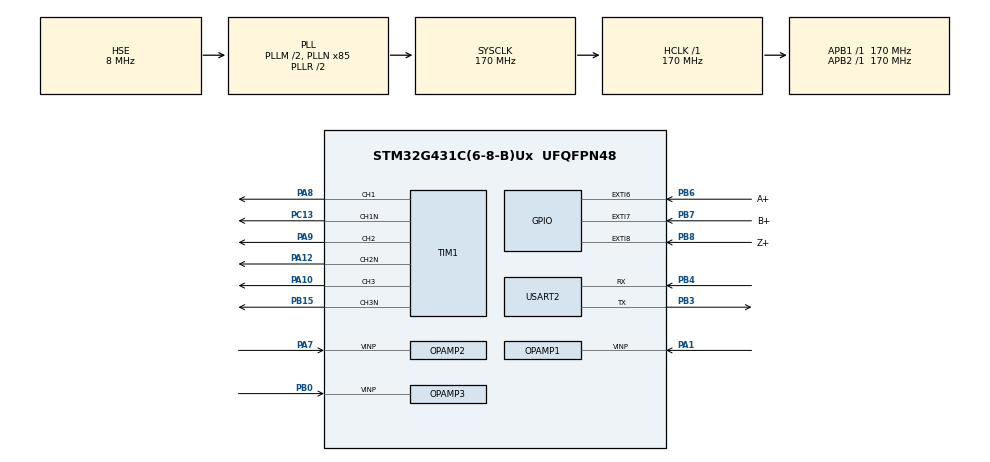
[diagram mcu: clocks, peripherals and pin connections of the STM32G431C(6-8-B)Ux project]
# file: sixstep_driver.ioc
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ADC1.Channel-3\#ChannelRegularConversion=ADC_CHANNEL_VOPAMP1
ADC1.NbrOfConversionFlag=1
ADC1.OffsetNumber-3\#ChannelRegularConversion=ADC_OFFSET_NONE
ADC1.Rank-3\#ChannelRegularConversion=1
ADC1.SamplingTime-3\#ChannelRegularConversion=ADC_SAMPLETIME_2CYCLES_5
ADC1.master=1
ADC2.Channel-1\#ChannelRegularConversion=ADC_CHANNEL_VOPAMP2
ADC2.NbrOfConversionFlag=1
ADC2.OffsetNumber-1\#ChannelRegularConversion=ADC_OFFSET_NONE
ADC2.Rank-1\#ChannelRegularConversion=1
ADC2.SamplingTime-1\#ChannelRegularConversion=ADC_SAMPLETIME_2CYCLES_5
Mcu.Family=STM32G4
Mcu.Name=STM32G431C(6-8-B)Ux
Mcu.Package=UFQFPN48
NVIC.PriorityGroup=NVIC_PRIORITYGROUP_4
OPAMP1.PgaGain=OPAMP_PGA_GAIN_16_OR_MINUS_15
OPAMP1.PowerMode=OPAMP_POWERMODE_NORMALSPEED
OPAMP2.PgaGain=OPAMP_PGA_GAIN_16_OR_MINUS_15
OPAMP3.PgaGain=OPAMP_PGA_GAIN_16_OR_MINUS_15
PA1.Mode=PGA_Internally_Connected
PA1.Signal=OPAMP1_VINP
PA10.Signal=S_TIM1_CH3
PA12.Mode=PWM Generation2 CH2 CH2N
PA12.Signal=TIM1_CH2N
PA7.Mode=PGA_Internally_Connected
PA7.Signal=OPAMP2_VINP
PA8.Signal=S_TIM1_CH1
PA9.Signal=S_TIM1_CH2
PB0.Mode=PGA_Internally_Connected
PB0.Signal=OPAMP3_VINP
PB15.Mode=PWM Generation3 CH3 CH3N
PB15.Signal=TIM1_CH3N
PB3.Mode=Asynchronous
PB3.Signal=USART2_TX
PB4.Mode=Asynchronous
PB4.Signal=USART2_RX
PB6.GPIO_Label=A+
PB6.GPIO_ModeDefaultEXTI=GPIO_MODE_IT_RISING_FALLING
PB6.Signal=GPXTI6
PB7.GPIO_Label=B+
PB7.GPIO_ModeDefaultEXTI=GPIO_MODE_IT_RISING_FALLING
PB7.Signal=GPXTI7
PB8-BOOT0.GPIO_Label=Z+
PB8-BOOT0.GPIO_ModeDefaultEXTI=GPIO_MODE_IT_RISING_FALLING
PB8-BOOT0.Signal=GPXTI8
PC13.Mode=PWM Generation1 CH1 CH1N
PC13.Signal=TIM1_CH1N
PF0-OSC_IN.Mode=HSE-External-Oscillator
PF0-OSC_IN.Signal=RCC_OSC_IN
PF1-OSC_OUT.Mode=HSE-External-Oscillator
PF1-OSC_OUT.Signal=RCC_OSC_OUT
ProjectManager.HeapSize=0x200
ProjectManager.StackSize=0x400
ProjectManager.TargetToolchain=STM32CubeIDE
RCC.ADC12Freq_Value=170000000
RCC.AHBFreq_Value=170000000
RCC.APB1Freq_Value=170000000
RCC.APB1TimFreq_Value=170000000
RCC.APB2Freq_Value=170000000
RCC.APB2TimFreq_Value=170000000
RCC.CortexFreq_Value=170000000
RCC.EXTERNAL_CLOCK_VALUE=12288000
RCC.HCLKFreq_Value=170000000
RCC.HSE_VALUE=8000000
RCC.HSI48_VALUE=48000000
RCC.HSI_VALUE=16000000
RCC.LSE_VALUE=32768
RCC.PLLM=RCC_PLLM_DIV2
RCC.PLLN=85
RCC.PLLSourceVirtual=RCC_PLLSOURCE_HSE
RCC.SYSCLKFreq_VALUE=170000000
RCC.SYSCLKSource=RCC_SYSCLKSOURCE_PLLCLK
RCC.USBFreq_Value=170000000
RCC.VCOOutputFreq_Value=340000000
SH.S_TIM1_CH1.0=TIM1_CH1,PWM Generation1 CH1 CH1N
SH.S_TIM1_CH2.0=TIM1_CH2,PWM Generation2 CH2 CH2N
SH.S_TIM1_CH3.0=TIM1_CH3,PWM Generation3 CH3 CH3N
TIM1.Channel-PWM\ Generation1\ CH1\ CH1N=TIM_CHANNEL_1
TIM1.Channel-PWM\ Generation2\ CH2\ CH2N=TIM_CHANNEL_2
TIM1.Channel-PWM\ Generation3\ CH3\ CH3N=TIM_CHANNEL_3
TIM1.TIM_MasterOutputTrigger=TIM_TRGO_UPDATE
TIM2.Channel-Output\ Compare1\ No\ Output=TIM_CHANNEL_1
TIM2.Prescaler=170
USART2.VirtualMode-Asynchronous=VM_ASYNC
VP_ADC1_OPAMP_INTERNAL1.Mode=IN-OPAMP1
VP_ADC2_OPAMP_INTERNAL2.Mode=IN-OPAMP2
VP_ADC2_OPAMP_INTERNAL3.Mode=IN-OPAMP3
VP_SYS_VS_DBSignals.Mode=DisableDeadBatterySignals
VP_TIM2_VS_no_output1.Mode=Output Compare1 No Output
board=custom

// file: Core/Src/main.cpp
/* USER CODE BEGIN Header */
/**
  ******************************************************************************
  * @file           : main.cpp
  * @brief          : Main program body
  ******************************************************************************
  * @attention
  *
  * Copyright (c) 2025 STMicroelectronics.
  * All rights reserved.
  *
  * This software is licensed under terms that can be found in the LICENSE file
  * in the root directory of this software component.
  * If no LICENSE file comes with this software, it is provided AS-IS.
  *
  ******************************************************************************
  */
/* USER CODE END Header */
#include "../Inc/main.h"

/* USER CODE BEGIN Includes */
#include "../../libecu/include/libecu.hpp"
#include "../../libecu/include/bldc_controller.hpp"
#include "../../libecu/hal/stm32g4/stm32_pwm.hpp"
#include "../../libecu/hal/stm32g4/stm32_hall_sensor.hpp"
#include "../../libecu/hal/stm32g4/stm32_adc.hpp"
#include "../../libecu/include/algorithms/commutation_controller.hpp"
#include "../../libecu/include/algorithms/pid_controller.hpp"
#include "../../libecu/include/algorithms/current_controller.hpp"
#include "../../libecu/include/safety/safety_monitor.hpp"
#include <stdint.h>
#include <stddef.h>
#include <string.h>
#include <stdio.h>
/* USER CODE END Includes */

/* USER CODE BEGIN PD */
#define PERIODIC_TIMER_FREQ 1000
/* USER CODE END PD */

ADC_HandleTypeDef hadc1;
ADC_HandleTypeDef hadc2;

OPAMP_HandleTypeDef hopamp1;
OPAMP_HandleTypeDef hopamp2;
OPAMP_HandleTypeDef hopamp3;

TIM_HandleTypeDef htim1;
TIM_HandleTypeDef htim2;

UART_HandleTypeDef huart2;

DMA_HandleTypeDef hdma_adc1;

/* USER CODE BEGIN PV */
static libecu::Stm32Pwm pwm_driver(&htim1);
static libecu::HallGpioConfig hall_config{A__GPIO_Port, A__Pin, B__Pin, Z__Pin};
static libecu::Stm32HallSensor hall_sensor(hall_config);
static libecu::Stm32Adc adc_driver;
static libecu::CommutationController* commutation_controller = nullptr;
static libecu::SafetyMonitor* safety_monitor = nullptr;
static libecu::CurrentController* current_controller = nullptr;
static libecu::BldcController* motor_controller = nullptr;
static volatile bool control_tick = false;
//static uint32_t control_counter = 0;
/* USER CODE END PV */

void SystemClock_Config(void);
static void MX_GPIO_Init(void);
static void MX_DMA_Init(void);
static void MX_TIM1_Init(void);
static void MX_USART2_UART_Init(void);
static void MX_OPAMP1_Init(void);
static void MX_OPAMP2_Init(void);
static void MX_OPAMP3_Init(void);
static void MX_TIM2_Init(void);
static void MX_ADC1_Init(void);
static void MX_ADC2_Init(void);

/* USER CODE BEGIN 0 */
extern "C" {
int __io_putchar(int ch)
{
	HAL_UART_Transmit(&huart2, (uint8_t*)&ch, 1, 180);
	return (int)ch;
}

int __io_getchar(void)
{
	uint8_t byte;

	if (HAL_UART_Receive(&huart2, &byte, 1, 0) == HAL_OK)
		return (int)byte;
	else
		return (int)EOF;
}
}

uint32_t time_us()
{
	return htim2.Instance->CNT;
}

// Use CMSIS intrinsics for interrupt control
// These functions are used by libecu library for critical sections
extern "C" void disable_interrupts() {
    __asm volatile ("cpsid i" : : : "memory");
}

extern "C" void enable_interrupts() {
    __asm volatile ("cpsie i" : : : "memory");
}

/**
 * @brief Read potentiometer and convert to target speed
 * @param max_speed_rpm Maximum speed corresponding to 3.3V
 * @return Target speed in RPM (0 to max_speed_rpm)
 */
float readPotentiometerSpeed(float max_speed_rpm)
{
    // Start ADC regular conversion
    HAL_ADC_Start(&hadc1);

    // Wait for conversion complete (should be very fast)
    if (HAL_ADC_PollForConversion(&hadc1, 10) == HAL_OK) {
        uint32_t adc_value = HAL_ADC_GetValue(&hadc1);

        // Convert ADC value (0-4095) to speed (0-max_speed_rpm)
        // Linear mapping: speed = (adc_value / 4095.0) * max_speed_rpm
        float speed_rpm = (static_cast<float>(adc_value) / 4095.0f) * max_speed_rpm;

        return speed_rpm;
    }

    // If conversion failed, return 0
    return 0.0f;
}

/**
 * @brief C-linkage wrapper for Hall sensor interrupt handler
 * This function is called from C code (stm32g4xx_it.c) and delegates to the C++ motor controller
 */
extern "C" void motor_controller_hall_interrupt_handler(void)
{
    if (motor_controller != nullptr) {
        motor_controller->hallSensorInterruptHandler();
    }
}

/**
 * @brief C-linkage wrapper for PWM interrupt handler (current control loop)
 * This function is called from C code (stm32g4xx_it.c) at 20kHz for current control
 */
extern "C" void motor_controller_pwm_interrupt_handler(void)
{
    if (motor_controller != nullptr) {
        motor_controller->pwmInterruptHandler();
    }
}

/* USER CODE END 0 */

int main(void)
{

  /* MCU Configuration--------------------------------------------------------*/

  /* Reset of all peripherals, Initializes the Flash interface and the Systick. */
  HAL_Init();

  /* Configure the system clock */
  SystemClock_Config();

  /* Initialize all configured peripherals */
  MX_GPIO_Init();
  MX_DMA_Init();
  MX_TIM1_Init();
  MX_TIM2_Init();
  MX_USART2_UART_Init();
  MX_OPAMP1_Init();
  MX_OPAMP2_Init();
  MX_OPAMP3_Init();
  MX_ADC1_Init();
  MX_ADC2_Init();

  /* Start OPAMPs for current sensing */
  HAL_OPAMP_Start(&hopamp1);
  HAL_OPAMP_Start(&hopamp2);
  HAL_OPAMP_Start(&hopamp3);

    /* USER CODE BEGIN 2 */
    // Initialize motor control components
    if (!pwm_driver.initialize(20000, 100)) {  // 20kHz PWM, 100ns dead-time
        Error_Handler();
    }

    if (!hall_sensor.initialize()) {
        Error_Handler();
    }

    // Calibrate ADCs (must be done before starting conversions)
    if (HAL_ADCEx_Calibration_Start(&hadc1, ADC_SINGLE_ENDED) != HAL_OK) {
        Error_Handler();
    }
    if (HAL_ADCEx_Calibration_Start(&hadc2, ADC_SINGLE_ENDED) != HAL_OK) {
        Error_Handler();
    }

    // Initialize ADC for current sensing
    libecu::CurrentSensorCalibration adc_calibration;
    adc_calibration.shunt_resistance_ohms = 0.003f;  // 3 milliohm shunts
    adc_calibration.opamp_gain = 16.0f;              // PGA gain
    adc_calibration.adc_reference_voltage = 3.3f;    // 3.3V ADC reference
    adc_calibration.adc_resolution_bits = 12;        // 12-bit ADC

    if (!adc_driver.initialize(adc_calibration)) {
        Error_Handler();
    }

    // Start TIM1 to generate TRGO2 triggers for ADC (must be before ADC start)
    if (HAL_TIM_Base_Start(&htim1) != HAL_OK) {
        Error_Handler();
    }

    // Start ADC injected conversions (triggered by TIM1_TRGO2)
    // In dual-mode simultaneous: START SLAVE FIRST, THEN MASTER
    // ADC2 (slave): Phase V (VOPAMP2) - must be started first
    if (HAL_ADCEx_InjectedStart(&hadc2) != HAL_OK) {
        Error_Handler();
    }

    // ADC1 (master): Phase U (VOPAMP1) + Phase W (IN12/OPAMP3)
    // Starting master will trigger both ADCs simultaneously
    if (HAL_ADCEx_InjectedStart(&hadc1) != HAL_OK) {
        Error_Handler();
    }

    // Wait for stable readings
    HAL_Delay(100);

    // Calibrate zero-current offset (motor must be stationary)
    // Must be AFTER ADC is started and TIM1 is generating triggers
    if (!adc_driver.calibrateZeroOffset()) {
        Error_Handler();
    }
    printf("zero offsets: %f %f %f\n",  adc_driver.getCalibration().offset_voltage_u,
                                        adc_driver.getCalibration().offset_voltage_v,
                                        adc_driver.getCalibration().offset_voltage_w);

    // Create component instances
    // Using 8 pole pairs for commutation
    commutation_controller = new libecu::CommutationController(pwm_driver, hall_sensor, 8);

    // Speed PID controller parameters for VOLTAGE_MODE (outputs duty cycle 0.0-1.0)
    libecu::PidParameters pid_params_voltage;
    pid_params_voltage.kp = 0.01f;
    pid_params_voltage.ki = 0.05f;
    pid_params_voltage.kd = 0.0f;
    pid_params_voltage.max_output = 1.0f;    // Max duty cycle
    pid_params_voltage.min_output = 0.0f;
    pid_params_voltage.max_integral = 20.0f;

    // Speed PID controller parameters for CURRENT_MODE (outputs current 0.0-5.4A)
    libecu::PidParameters pid_params_current;
    pid_params_current.kp = 0.01f;     // Higher gain for current control
    pid_params_current.ki = 0.05f;     // Different integral for current
    pid_params_current.kd = 0.0f;
    pid_params_current.max_output = 5.4f;    // Max current (A)
    pid_params_current.min_output = 0.0f;
    pid_params_current.max_integral = 5.0f;  // Smaller integral limit for current

    // PID controller will be created internally by BldcController

    // Create current controller for current control mode
    libecu::CurrentControllerParameters current_params;
    current_params.kp = 1.0f;                  // Current loop proportional gain
    current_params.ki = 0.1f;                 // Current loop integral gain
    current_params.max_output = 1.0f;          // Max delta (+1.0 → max current increasing)
    current_params.min_output = -1.0f;         // Min delta (-1.0 → max current decreasing)
    current_params.max_integral = 0.0f;       // Anti-windup limit
    current_params.sample_time_s = 1.0f / 20000.0f;  // 20kHz (50μs)
    current_params.max_current = 5.4f;         // 5.4A maximum current
    current_controller = new libecu::CurrentController(current_params);

    libecu::SafetyLimits safety_limits;
    safety_limits.max_current =  6.0f;      // 6A max current
    safety_limits.max_temperature = 85.0f;  // 85°C max temp
    safety_monitor = new libecu::SafetyMonitor(safety_limits);

    libecu::MotorControlParams motor_params;
    motor_params.max_duty_cycle = 0.85f;
    motor_params.max_current = 6.0f;          // 6A max current (matches safety limit)
    motor_params.max_speed_rpm = 150.0f;
    motor_params.acceleration_rate = 1000.0f; // 1000 RPM/s accel
    motor_params.control_frequency = PERIODIC_TIMER_FREQ;
    motor_params.pid_voltage_mode = pid_params_voltage;
    motor_params.pid_current_mode = pid_params_current;

    motor_controller = new libecu::BldcController(
        pwm_driver, hall_sensor, *commutation_controller,
        *safety_monitor, motor_params,
        &adc_driver, current_controller);

    if (!motor_controller->initialize()) {
        Error_Handler();
    }

    /* Configure interrupt priorities for real-time control
     * Lower preempt priority number = higher priority (can preempt higher numbers)
     * Priority 0: TIM1 (20kHz current loop) - highest priority, time-critical
     * Priority 2: SysTick (5kHz control loop) - medium priority
     * Priority 5: Hall sensors (EXTI9_5) - lowest priority, already configured in MX_GPIO_Init
     */
    HAL_NVIC_SetPriority(TIM1_UP_TIM16_IRQn, 0, 0);
    HAL_NVIC_EnableIRQ(TIM1_UP_TIM16_IRQn);

    // Enable TIM1 update interrupt for 20kHz current control loop
    // (TIM1 base is already started earlier for ADC calibration)
    HAL_TIM_Base_Start_IT(&htim1);

    // Set control mode (mechanical) and electric mode (electrical)
    motor_controller->setControlMode(libecu::ControlMode::CLOSED_LOOP_VELOCITY);
    motor_controller->setElectricMode(libecu::ElectricMode::CURRENT_MODE);

    // This setting is for CLOSED_LOOP_TORQUE and VOLTAGE_MODE mode only
    motor_controller->setDutyCycle(0.3f);

    // This setting is for CLOSED_LOOP_TORQUE and CURRENT_MODE mode only
    motor_controller->setCurrent(0.5f);

    motor_controller->start();

    // Setup 5kHz control loop with SysTick
    HAL_SYSTICK_Config(SystemCoreClock / PERIODIC_TIMER_FREQ);
    // SysTick priority must be lower than TIM1 (higher number = lower priority)
    HAL_NVIC_SetPriority(SysTick_IRQn, 2, 0);

    // Direction is always CLOCKWISE (potentiometer controls speed only)
    motor_controller->setDirection(libecu::RotationDirection::CLOCKWISE);
    // Target speed will be updated from potentiometer in main loop

    /* USER CODE END 2 */

    /* Infinite loop */
    /* USER CODE BEGIN WHILE */

    printf("ECU started\n");
    while (1)
    {

      /* USER CODE END WHILE */

      /* USER CODE BEGIN 3 */

        // motor control loop
        if (control_tick) {
            control_tick = false;

            if (motor_controller) {
                // Update motor controller
                motor_controller->update();
                printf("%.2f %.2f %.2f\n",  motor_controller->getStatus().target_speed_rpm,
                                            motor_controller->getStatus().current_speed_rpm,
                                            motor_controller->getStatus().duty_cycle);
            }
            /*if (safety_monitor) {
                // Basic safety check every 10 control cycles
                if ((control_counter % 10) == 0) {
                    // Collect safety data
                    libecu::SafetyData safety_data = {0};

                    // Read actual phase currents from ADC
                    adc_driver.readAllCurrents(
                        safety_data.phase_u_current,
                        safety_data.phase_v_current,
                        safety_data.phase_w_current
                    );

                    safety_data.temperature = 25.0f;     // TODO: Read from temp sensor
                    safety_data.bus_voltage = 24.0f;     // TODO: Read from voltage sensor
                    safety_data.emergency_stop = false;  // TODO: Read from E-stop button
                    safety_data.hall_fault = false;      // TODO: Check hall sensors
                    motor_controller->monitor(safety_data);
                    libecu::MotorStatus status = motor_controller->getStatus();
                    if (status.active_fault != libecu::SafetyFault::NONE) {
                        motor_controller->emergencyStop();
                        // Could add fault handling here
                    }
                }

                control_counter++;
            }*/
      }

#ifdef DEBUG_PWM_ISR
      // Process debug buffer output (one sample per loop iteration)
      if (motor_controller) {
          motor_controller->processDebugOutput();
      }
#endif

      // Read potentiometer and update target speed (runs in main loop)
      if (motor_controller) {
          float target_speed = readPotentiometerSpeed(motor_params.max_speed_rpm);
          motor_controller->setTargetSpeed(target_speed);
      }
    }
    /* USER CODE END 3 */
}

void SystemClock_Config(void)
{
  RCC_OscInitTypeDef RCC_OscInitStruct = {0};
  RCC_ClkInitTypeDef RCC_ClkInitStruct = {0};

  /** Configure the main internal regulator output voltage
  */
  HAL_PWREx_ControlVoltageScaling(PWR_REGULATOR_VOLTAGE_SCALE1_BOOST);

  /** Initializes the RCC Oscillators according to the specified parameters
  * in the RCC_OscInitTypeDef structure.
  */
  RCC_OscInitStruct.OscillatorType = RCC_OSCILLATORTYPE_HSE;
  RCC_OscInitStruct.HSEState = RCC_HSE_ON;
  RCC_OscInitStruct.PLL.PLLState = RCC_PLL_ON;
  RCC_OscInitStruct.PLL.PLLSource = RCC_PLLSOURCE_HSE;
  RCC_OscInitStruct.PLL.PLLM = RCC_PLLM_DIV2;
  RCC_OscInitStruct.PLL.PLLN = 85;
  RCC_OscInitStruct.PLL.PLLP = RCC_PLLP_DIV2;
  RCC_OscInitStruct.PLL.PLLQ = RCC_PLLQ_DIV2;
  RCC_OscInitStruct.PLL.PLLR = RCC_PLLR_DIV2;
  if (HAL_RCC_OscConfig(&RCC_OscInitStruct) != HAL_OK)
  {
    Error_Handler();
  }

  /** Initializes the CPU, AHB and APB buses clocks
  */
  RCC_ClkInitStruct.ClockType = RCC_CLOCKTYPE_HCLK|RCC_CLOCKTYPE_SYSCLK
                              |RCC_CLOCKTYPE_PCLK1|RCC_CLOCKTYPE_PCLK2;
  RCC_ClkInitStruct.SYSCLKSource = RCC_SYSCLKSOURCE_PLLCLK;
  RCC_ClkInitStruct.AHBCLKDivider = RCC_SYSCLK_DIV1;
  RCC_ClkInitStruct.APB1CLKDivider = RCC_HCLK_DIV1;
  RCC_ClkInitStruct.APB2CLKDivider = RCC_HCLK_DIV1;

  if (HAL_RCC_ClockConfig(&RCC_ClkInitStruct, FLASH_LATENCY_4) != HAL_OK)
  {
    Error_Handler();
  }
}

static void MX_ADC1_Init(void)
{

  ADC_MultiModeTypeDef multimode = {0};
  ADC_ChannelConfTypeDef sConfig = {0};

  /** Common config
  */
  hadc1.Instance = ADC1;
  hadc1.Init.ClockPrescaler = ADC_CLOCK_SYNC_PCLK_DIV4;
  hadc1.Init.Resolution = ADC_RESOLUTION_12B;
  hadc1.Init.DataAlign = ADC_DATAALIGN_RIGHT;
  hadc1.Init.GainCompensation = 0;
  hadc1.Init.ScanConvMode = ADC_SCAN_DISABLE;
  hadc1.Init.EOCSelection = ADC_EOC_SEQ_CONV;  // EOC after sequence
  hadc1.Init.LowPowerAutoWait = DISABLE;
  hadc1.Init.ContinuousConvMode = DISABLE;
  hadc1.Init.NbrOfConversion = 1;
  hadc1.Init.DiscontinuousConvMode = DISABLE;
  hadc1.Init.ExternalTrigConv = ADC_SOFTWARE_START;
  hadc1.Init.ExternalTrigConvEdge = ADC_EXTERNALTRIGCONVEDGE_NONE;
  hadc1.Init.DMAContinuousRequests = DISABLE;
  hadc1.Init.Overrun = ADC_OVR_DATA_PRESERVED;
  hadc1.Init.OversamplingMode = DISABLE;
  if (HAL_ADC_Init(&hadc1) != HAL_OK)
  {
    Error_Handler();
  }

  /** Configure the ADC multi-mode for simultaneous injected conversions
  */
  multimode.Mode = ADC_DUALMODE_INJECSIMULT;  // Simultaneous injected mode
  multimode.DMAAccessMode = ADC_DMAACCESSMODE_DISABLED;
  multimode.TwoSamplingDelay = ADC_TWOSAMPLINGDELAY_1CYCLE;
  if (HAL_ADCEx_MultiModeConfigChannel(&hadc1, &multimode) != HAL_OK)
  {
    Error_Handler();
  }

  /** Configure Regular Channel for Potentiometer (PB12 = ADC1_IN11)
  */
  sConfig.Channel = ADC_CHANNEL_11;  // PB12 potentiometer input
  sConfig.Rank = ADC_REGULAR_RANK_1;
  sConfig.SamplingTime = ADC_SAMPLETIME_47CYCLES_5;  // Slower sampling for stable reading
  sConfig.SingleDiff = ADC_SINGLE_ENDED;
  sConfig.OffsetNumber = ADC_OFFSET_NONE;
  sConfig.Offset = 0;
  if (HAL_ADC_ConfigChannel(&hadc1, &sConfig) != HAL_OK)
  {
    Error_Handler();
  }

  /** Configure Injected Channel 1: Phase U current (OPAMP1)
  */
  ADC_InjectionConfTypeDef sConfigInjected = {0};
  sConfigInjected.InjectedChannel = ADC_CHANNEL_VOPAMP1;
  sConfigInjected.InjectedRank = ADC_INJECTED_RANK_1;
  sConfigInjected.InjectedSamplingTime = ADC_SAMPLETIME_47CYCLES_5;  // Fast sampling for 20kHz
  sConfigInjected.InjectedSingleDiff = ADC_SINGLE_ENDED;
  sConfigInjected.InjectedOffsetNumber = ADC_OFFSET_NONE;
  sConfigInjected.InjectedOffset = 0;
  sConfigInjected.InjectedNbrOfConversion = 1;  // 1 injected channel on ADC1 (OPAMP1 only)
  sConfigInjected.InjectedDiscontinuousConvMode = DISABLE;
  sConfigInjected.AutoInjectedConv = DISABLE;
  sConfigInjected.QueueInjectedContext = DISABLE;
  sConfigInjected.ExternalTrigInjecConv = ADC_EXTERNALTRIGINJEC_T1_TRGO2;  // TIM1 TRGO2 trigger
  sConfigInjected.ExternalTrigInjecConvEdge = ADC_EXTERNALTRIGINJECCONV_EDGE_RISING;
  sConfigInjected.InjecOversamplingMode = DISABLE;

  if (HAL_ADCEx_InjectedConfigChannel(&hadc1, &sConfigInjected) != HAL_OK)
  {
    Error_Handler();
  }

}

static void MX_ADC2_Init(void)
{

  /** Common config
  */
  hadc2.Instance = ADC2;
  hadc2.Init.ClockPrescaler = ADC_CLOCK_SYNC_PCLK_DIV4;
  hadc2.Init.Resolution = ADC_RESOLUTION_12B;
  hadc2.Init.DataAlign = ADC_DATAALIGN_RIGHT;
  hadc2.Init.GainCompensation = 0;
  hadc2.Init.ScanConvMode = ADC_SCAN_ENABLE;  // Enable scan for 2 injected channels (OPAMP2 + OPAMP3)
  hadc2.Init.EOCSelection = ADC_EOC_SEQ_CONV;
  hadc2.Init.LowPowerAutoWait = DISABLE;
  hadc2.Init.ContinuousConvMode = DISABLE;
  hadc2.Init.NbrOfConversion = 1;
  hadc2.Init.DiscontinuousConvMode = DISABLE;
  hadc2.Init.ExternalTrigConv = ADC_SOFTWARE_START;
  hadc2.Init.ExternalTrigConvEdge = ADC_EXTERNALTRIGCONVEDGE_NONE;
  hadc2.Init.DMAContinuousRequests = DISABLE;
  hadc2.Init.Overrun = ADC_OVR_DATA_PRESERVED;
  hadc2.Init.OversamplingMode = DISABLE;
  if (HAL_ADC_Init(&hadc2) != HAL_OK)
  {
    Error_Handler();
  }

  /** Configure Injected Channel 1: Phase V current (OPAMP2)
  */
  ADC_InjectionConfTypeDef sConfigInjected = {0};
  sConfigInjected.InjectedChannel = ADC_CHANNEL_VOPAMP2;  // OPAMP2_OUT internally connected
  sConfigInjected.InjectedRank = ADC_INJECTED_RANK_1;
  sConfigInjected.InjectedSamplingTime = ADC_SAMPLETIME_47CYCLES_5;  // Match ADC1 timing
  sConfigInjected.InjectedSingleDiff = ADC_SINGLE_ENDED;
  sConfigInjected.InjectedOffsetNumber = ADC_OFFSET_NONE;
  sConfigInjected.InjectedOffset = 0;
  sConfigInjected.InjectedNbrOfConversion = 2;  // 2 injected channels on ADC2 (OPAMP2 + OPAMP3)
  sConfigInjected.InjectedDiscontinuousConvMode = DISABLE;
  sConfigInjected.AutoInjectedConv = DISABLE;
  sConfigInjected.QueueInjectedContext = DISABLE;
  sConfigInjected.ExternalTrigInjecConv = ADC_EXTERNALTRIGINJEC_T1_TRGO2;  // TIM1 TRGO2 trigger
  sConfigInjected.ExternalTrigInjecConvEdge = ADC_EXTERNALTRIGINJECCONV_EDGE_RISING;
  sConfigInjected.InjecOversamplingMode = DISABLE;

  if (HAL_ADCEx_InjectedConfigChannel(&hadc2, &sConfigInjected) != HAL_OK)
  {
    Error_Handler();
  }

  /** Configure Injected Channel 2: Phase W current (OPAMP3)
  */
  sConfigInjected.InjectedChannel = ADC_CHANNEL_VOPAMP3_ADC2;  // OPAMP3_OUT internally connected
  sConfigInjected.InjectedRank = ADC_INJECTED_RANK_2;
  if (HAL_ADCEx_InjectedConfigChannel(&hadc2, &sConfigInjected) != HAL_OK)
  {
    Error_Handler();
  }

}

static void MX_OPAMP1_Init(void)
{

  hopamp1.Instance = OPAMP1;
  hopamp1.Init.PowerMode = OPAMP_POWERMODE_NORMALSPEED;
  hopamp1.Init.Mode = OPAMP_PGA_MODE;
  hopamp1.Init.NonInvertingInput = OPAMP_NONINVERTINGINPUT_IO0;
  hopamp1.Init.InvertingInput = OPAMP_INVERTINGINPUT_IO0;  // Not used in PGA mode
  hopamp1.Init.PgaGain = OPAMP_PGA_GAIN_16_OR_MINUS_15;
  hopamp1.Init.PgaConnect = OPAMP_PGA_CONNECT_INVERTINGINPUT_NO;
  hopamp1.Init.InternalOutput = ENABLE;
  hopamp1.Init.TimerControlledMuxmode = OPAMP_TIMERCONTROLLEDMUXMODE_DISABLE;
  hopamp1.Init.InvertingInputSecondary = OPAMP_SEC_INVERTINGINPUT_IO0;
  hopamp1.Init.NonInvertingInputSecondary = OPAMP_SEC_NONINVERTINGINPUT_IO0;
  hopamp1.Init.UserTrimming = OPAMP_TRIMMING_FACTORY;
  hopamp1.Init.TrimmingValueP = 0;
  hopamp1.Init.TrimmingValueN = 0;
  if (HAL_OPAMP_Init(&hopamp1) != HAL_OK)
  {
    Error_Handler();
  }

}

static void MX_OPAMP2_Init(void)
{

  hopamp2.Instance = OPAMP2;
  hopamp2.Init.PowerMode = OPAMP_POWERMODE_NORMALSPEED;
  hopamp2.Init.Mode = OPAMP_PGA_MODE;
  hopamp2.Init.NonInvertingInput = OPAMP_NONINVERTINGINPUT_IO0;
  hopamp2.Init.InvertingInput = OPAMP_INVERTINGINPUT_IO0;  // Not used in PGA mode
  hopamp2.Init.PgaGain = OPAMP_PGA_GAIN_16_OR_MINUS_15;
  hopamp2.Init.PgaConnect = OPAMP_PGA_CONNECT_INVERTINGINPUT_NO;
  hopamp2.Init.InternalOutput = ENABLE;
  hopamp2.Init.TimerControlledMuxmode = OPAMP_TIMERCONTROLLEDMUXMODE_DISABLE;
  hopamp2.Init.InvertingInputSecondary = OPAMP_SEC_INVERTINGINPUT_IO0;
  hopamp2.Init.NonInvertingInputSecondary = OPAMP_SEC_NONINVERTINGINPUT_IO0;
  hopamp2.Init.UserTrimming = OPAMP_TRIMMING_FACTORY;
  hopamp2.Init.TrimmingValueP = 0;
  hopamp2.Init.TrimmingValueN = 0;
  if (HAL_OPAMP_Init(&hopamp2) != HAL_OK)
  {
    Error_Handler();
  }

}

static void MX_OPAMP3_Init(void)
{

  hopamp3.Instance = OPAMP3;
  hopamp3.Init.PowerMode = OPAMP_POWERMODE_NORMALSPEED;
  hopamp3.Init.Mode = OPAMP_PGA_MODE;
  hopamp3.Init.NonInvertingInput = OPAMP_NONINVERTINGINPUT_IO0;
  hopamp3.Init.InvertingInput = OPAMP_INVERTINGINPUT_IO0;  // Not used in PGA mode
  hopamp3.Init.PgaGain = OPAMP_PGA_GAIN_16_OR_MINUS_15;
  hopamp3.Init.PgaConnect = OPAMP_PGA_CONNECT_INVERTINGINPUT_NO;
  hopamp3.Init.InternalOutput = ENABLE;
  hopamp3.Init.TimerControlledMuxmode = OPAMP_TIMERCONTROLLEDMUXMODE_DISABLE;
  hopamp3.Init.InvertingInputSecondary = OPAMP_SEC_INVERTINGINPUT_IO0;
  hopamp3.Init.NonInvertingInputSecondary = OPAMP_SEC_NONINVERTINGINPUT_IO0;
  hopamp3.Init.UserTrimming = OPAMP_TRIMMING_FACTORY;
  hopamp3.Init.TrimmingValueP = 0;
  hopamp3.Init.TrimmingValueN = 0;
  if (HAL_OPAMP_Init(&hopamp3) != HAL_OK)
  {
    Error_Handler();
  }

}

static void MX_TIM1_Init(void)
{

  /* USER CODE BEGIN TIM1_Init 1 */
  // TIM1 initialization moved to libecu::Stm32Pwm::initialize()
  // This includes:
  //   - Basic timer setup (prescaler, period, counter mode)
  //   - Master synchronization configuration
  //   - GPIO configuration (HAL_TIM_MspPostInit)
  //   - PWM channel configuration
  //   - Dead-time configuration
  /* USER CODE END TIM1_Init 1 */

}

static void MX_TIM2_Init(void)
{

  TIM_MasterConfigTypeDef sMasterConfig = {0};
  TIM_OC_InitTypeDef sConfigOC = {0};

  htim2.Instance = TIM2;
  htim2.Init.Prescaler = 170;
  htim2.Init.CounterMode = TIM_COUNTERMODE_UP;
  htim2.Init.Period = 4294967295;
  htim2.Init.ClockDivision = TIM_CLOCKDIVISION_DIV1;
  htim2.Init.AutoReloadPreload = TIM_AUTORELOAD_PRELOAD_DISABLE;
  if (HAL_TIM_OC_Init(&htim2) != HAL_OK)
  {
    Error_Handler();
  }
  sMasterConfig.MasterOutputTrigger = TIM_TRGO_RESET;
  sMasterConfig.MasterSlaveMode = TIM_MASTERSLAVEMODE_DISABLE;
  if (HAL_TIMEx_MasterConfigSynchronization(&htim2, &sMasterConfig) != HAL_OK)
  {
    Error_Handler();
  }
  sConfigOC.OCMode = TIM_OCMODE_TIMING;
  sConfigOC.Pulse = 0;
  sConfigOC.OCPolarity = TIM_OCPOLARITY_HIGH;
  sConfigOC.OCFastMode = TIM_OCFAST_DISABLE;
  if (HAL_TIM_OC_ConfigChannel(&htim2, &sConfigOC, TIM_CHANNEL_1) != HAL_OK)
  {
    Error_Handler();
  }
  /* USER CODE BEGIN TIM2_Init 2 */
  HAL_TIM_Base_Start(&htim2);
  /* USER CODE END TIM2_Init 2 */

}

static void MX_USART2_UART_Init(void)
{

  huart2.Instance = USART2;
  huart2.Init.BaudRate = 921600;
  huart2.Init.WordLength = UART_WORDLENGTH_8B;
  huart2.Init.StopBits = UART_STOPBITS_1;
  huart2.Init.Parity = UART_PARITY_NONE;
  huart2.Init.Mode = UART_MODE_TX_RX;
  huart2.Init.HwFlowCtl = UART_HWCONTROL_NONE;
  huart2.Init.OverSampling = UART_OVERSAMPLING_16;
  huart2.Init.OneBitSampling = UART_ONE_BIT_SAMPLE_DISABLE;
  huart2.Init.ClockPrescaler = UART_PRESCALER_DIV1;
  huart2.AdvancedInit.AdvFeatureInit = UART_ADVFEATURE_NO_INIT;
  if (HAL_UART_Init(&huart2) != HAL_OK)
  {
    Error_Handler();
  }
  if (HAL_UARTEx_SetTxFifoThreshold(&huart2, UART_TXFIFO_THRESHOLD_1_8) != HAL_OK)
  {
    Error_Handler();
  }
  if (HAL_UARTEx_SetRxFifoThreshold(&huart2, UART_RXFIFO_THRESHOLD_1_8) != HAL_OK)
  {
    Error_Handler();
  }
  if (HAL_UARTEx_DisableFifoMode(&huart2) != HAL_OK)
  {
    Error_Handler();
  }

}

static void MX_GPIO_Init(void)
{
  GPIO_InitTypeDef GPIO_InitStruct = {0};

  /* GPIO Ports Clock Enable */
  __HAL_RCC_GPIOC_CLK_ENABLE();
  __HAL_RCC_GPIOF_CLK_ENABLE();
  __HAL_RCC_GPIOA_CLK_ENABLE();
  __HAL_RCC_GPIOB_CLK_ENABLE();

  /*Configure GPIO pins : PA1 PA3 PA5 PA7 */
  GPIO_InitStruct.Pin = GPIO_PIN_1|GPIO_PIN_3|GPIO_PIN_5|GPIO_PIN_7;
  GPIO_InitStruct.Mode = GPIO_MODE_ANALOG;
  GPIO_InitStruct.Pull = GPIO_NOPULL;
  HAL_GPIO_Init(GPIOA, &GPIO_InitStruct);

  /*Configure GPIO pins : PB0 PB2 PB12 */
  GPIO_InitStruct.Pin = GPIO_PIN_0|GPIO_PIN_2|GPIO_PIN_12;
  GPIO_InitStruct.Mode = GPIO_MODE_ANALOG;
  GPIO_InitStruct.Pull = GPIO_NOPULL;
  HAL_GPIO_Init(GPIOB, &GPIO_InitStruct);

  /*Configure GPIO pins : A__Pin B__Pin Z__Pin */
  GPIO_InitStruct.Pin = A__Pin|B__Pin|Z__Pin;
  GPIO_InitStruct.Mode = GPIO_MODE_IT_RISING_FALLING;
  GPIO_InitStruct.Pull = GPIO_NOPULL;
  HAL_GPIO_Init(GPIOB, &GPIO_InitStruct);

  /* USER CODE BEGIN MX_GPIO_Init_2 */
  /* Enable EXTI interrupts for Hall sensor pins */
  HAL_NVIC_SetPriority(EXTI9_5_IRQn, 5, 0);
  HAL_NVIC_EnableIRQ(EXTI9_5_IRQn);
  /* USER CODE END MX_GPIO_Init_2 */
}

static void MX_DMA_Init(void)
{

  /* DMA controller clock enable */
  __HAL_RCC_DMAMUX1_CLK_ENABLE();
  __HAL_RCC_DMA1_CLK_ENABLE();

  /* DMA interrupt init */
  /* DMA1_Channel1_IRQn interrupt configuration */
  HAL_NVIC_SetPriority(DMA1_Channel1_IRQn, 0, 0);
  HAL_NVIC_EnableIRQ(DMA1_Channel1_IRQn);

}

/* USER CODE BEGIN 4 */

#ifdef STM32G4
/**
 * @brief SysTick interrupt handler - sets control tick flag
 * Frequency: PERIODIC_TIMER_FREQ (5000 Hz configured in main)
 */
void HAL_SYSTICK_Callback(void) {
    control_tick = true;
}
#endif

/* USER CODE END 4 */

void Error_Handler(void)
{
  __disable_irq();
  while (1)
  {
  }
}
